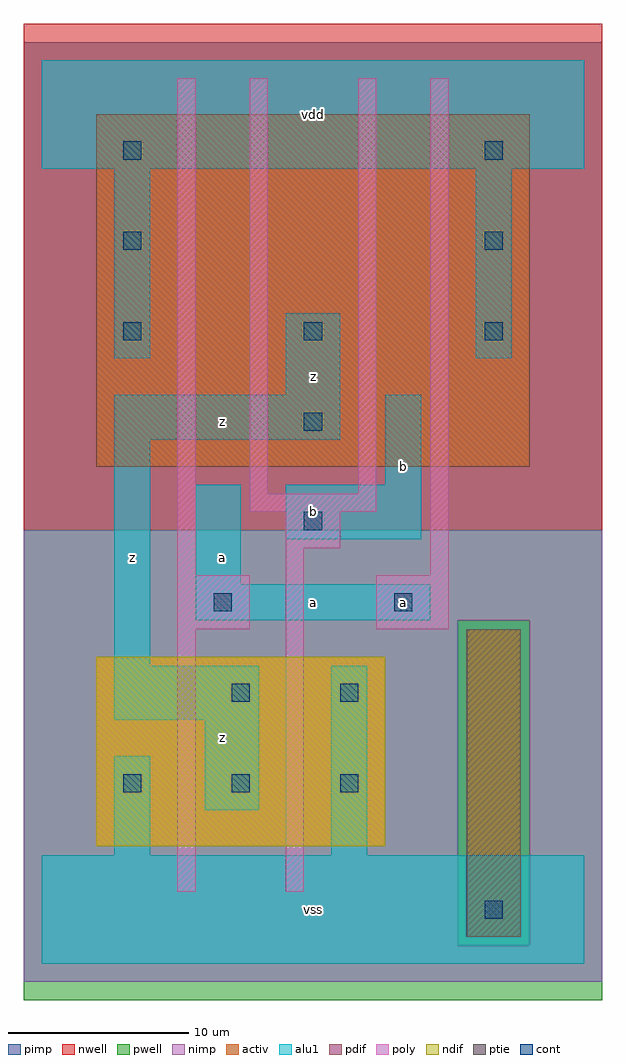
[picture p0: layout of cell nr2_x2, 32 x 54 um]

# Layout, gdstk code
import gdstk
lib = gdstk.Library(unit=1e-6, precision=1e-09)
def R(c, l, rs):  # rectangles x0, y0, x1, y1
    for r in rs: c.add(gdstk.rectangle(r[:2], r[2:], *l))
def A(c, l, x, y, w, h, nx, ny, dx, dy):  # array of equal rectangles
    R(c, l, [(x+i*dx, y+j*dy, x+i*dx+w, y+j*dy+h) for i in range(nx) for j in range(ny)])
ndif = (3, 0)
pdif = (4, 0)
ptie = (6, 0)
cont = (25, 0)
pwell = (41, 0)
nwell = (42, 0)
activ = (43, 0)
pimp = (44, 0)
nimp = (45, 0)
poly = (46, 0)
alu1 = (49, 0)

nr2_x2 = lib.new_cell('nr2_x2')
R(nr2_x2, ndif, [(3,6.5,19,17)])
R(nr2_x2, pdif, [(3,27.5,27,47)])
R(nr2_x2, ptie, [(23.5,1.5,26.5,18.5)])
A(nr2_x2, cont, 4.5, 9.5, 1, 1, 3, 1, 6, 0)
A(nr2_x2, cont, 4.5, 34.5, 1, 1, 3, 1, 10, 0)
R(nr2_x2, cont, [(24.5,2.5,25.5,3.5), (10.5,14.5,11.5,15.5), (16.5,14.5,17.5,15.5), (9.5,19.5,10.5,20.5), (19.5,19.5,20.5,20.5), (14.5,24,15.5,25), (14.5,29.5,15.5,30.5), (4.5,39.5,5.5,40.5), (24.5,39.5,25.5,40.5), (4.5,44.5,5.5,45.5), (24.5,44.5,25.5,45.5)])
R(nr2_x2, pwell, [(-1,-2,31,24)])
R(nr2_x2, nwell, [(-1,24,31,52)])
R(nr2_x2, activ, [(23.5,1.5,26.5,18.5), (3,6.5,19,17), (3,27.5,27,47)])
R(nr2_x2, pimp, [(23,1,27,19), (-1,24,31,51)])
R(nr2_x2, nimp, [(-1,-1,31,1), (-1,1,23,19), (27,1,31,19), (-1,19,31,24)])
R(nr2_x2, poly, [(7.5,4,8.5,18.5), (13.5,4,14.5,23), (7.5,18.5,11.5,21.5), (18.5,18.5,22.5,21.5), (7.5,21.5,8.5,49), (21.5,21.5,22.5,49), (13.5,23,16.5,25), (11.5,25,18.5,26), (11.5,26,12.5,49), (17.5,26,18.5,49)])
R(nr2_x2, alu1, [(0,0,30,6), (4,6,6,11.5), (16,6,18,16.5), (9,8.5,12,13.5), (4,13.5,12,16.5), (4,16.5,6,29), (8.5,19,21.5,21), (8.5,21,11,26.5), (13.5,23.5,21,26.5), (19,26.5,21,31.5), (4,29,16.5,31.5), (13.5,31.5,16.5,36), (4,33.5,6,44), (24,33.5,26,44), (0,44,30,50)])
nr2_x2.add(gdstk.Label('z', (5,22.5), layer=49, texttype=0))
nr2_x2.add(gdstk.Label('z', (10,12.5), layer=49, texttype=0))
nr2_x2.add(gdstk.Label('a', (10,22.5), layer=49, texttype=0))
nr2_x2.add(gdstk.Label('z', (10,30), layer=49, texttype=0))
nr2_x2.add(gdstk.Label('vss', (15,3), layer=49, texttype=0))
nr2_x2.add(gdstk.Label('a', (15,20), layer=49, texttype=0))
nr2_x2.add(gdstk.Label('a', (20,20), layer=49, texttype=0))
nr2_x2.add(gdstk.Label('b', (15,25), layer=49, texttype=0))
nr2_x2.add(gdstk.Label('z', (15,32.5), layer=49, texttype=0))
nr2_x2.add(gdstk.Label('b', (20,27.5), layer=49, texttype=0))
nr2_x2.add(gdstk.Label('vdd', (15,47), layer=49, texttype=0))

lib.write_gds('nr2_x2.gds')
